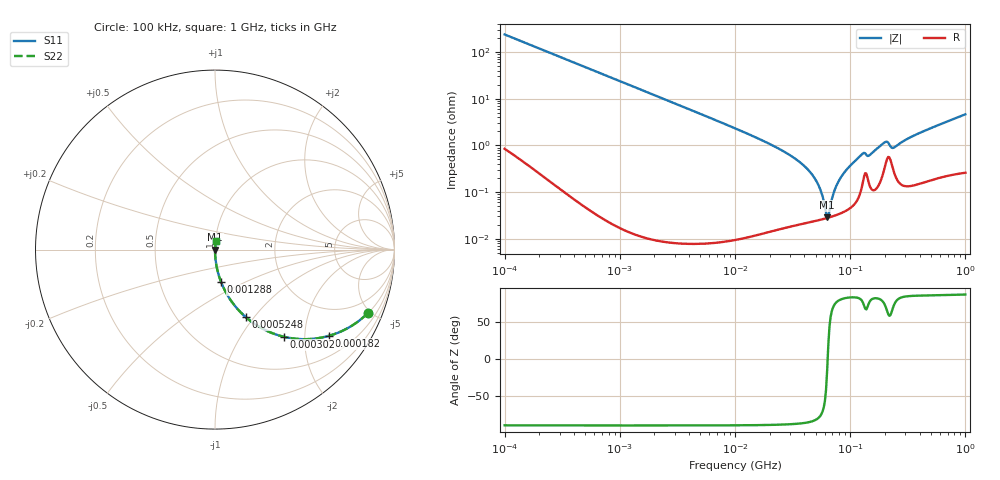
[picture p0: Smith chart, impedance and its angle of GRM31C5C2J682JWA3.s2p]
!Murata Part Number: GRM31C5C2J682JWA3
!These Parameters are Measured in Series Mode Connection
!Data Generated on Mar 30, 2021
!  o--ll--o
!Port1  Port2
!  o------o
!Operation Temp=25[degC], DC Bias Voltage=0[V]
!Freq. Start=100[kHz] Stop=1000[MHz] 401[Steps]
# Hz S RI R 50
!Freq.(Hz) S11(Real) S11(Imag) S21(Real) S21(Imag) S12(Real) S12(Imag) S22(Real) S22(Imag)
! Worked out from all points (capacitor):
!   401 points, 100 kHz to 1 GHz, reference 50 ohm
!   read as one part in series: C = 6.67 nF near 104.7 kHz
!   lowest |Z| = 28.9 mohm at 63.1 MHz (marker M1)
!   series resonance near 63.75 MHz, so ESL is about 940 pH
!   S11 on the Smith chart (normalised r, x): 100 kHz: 1.02, -4.77; 182 kHz: 1.01, -2.63; 302 kHz: 1.00, -1.58; 524.8 kHz: 1.00, -0.91; 1.288 MHz: 1.00, -0.37; 1 GHz: 1.01, +0.09
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100000  0.8497 -0.3556  0.1503 0.3556  0.1503 0.3556  0.8497 -0.3556
181970  0.6325 -0.481  0.3675 0.481  0.3675 0.481  0.6325 -0.481
301995  0.3851 -0.4859  0.6149 0.4859  0.6149 0.4859  0.3851 -0.4859
467735  0.2072 -0.4048  0.7928 0.4048  0.7928 0.4048  0.2072 -0.4048
524807  0.172 -0.3769  0.828 0.3769  0.828 0.3769  0.172 -0.3769
1288250  0.0334 -0.1792  0.9666 0.1792  0.9666 0.1792  0.0334 -0.1792
2187762  0.0118 -0.1078  0.9882 0.1078  0.9882 0.1078  0.0118 -0.1078
1e7  0.000634 -0.0233  0.9994 0.0233  0.9994 0.0233  0.000634 -0.0233
2.818383e7  0.00022 -0.00678  0.9998 0.00678  0.9998 0.00678  0.00022 -0.00678
4.677351e7  0.000237 -0.00235  0.9998 0.00235  0.9998 0.00235  0.000237 -0.00235
5.495409e7  0.000255 -0.00112  0.9997 0.00112  0.9997 0.00112  0.000255 -0.00112
6.309573e7  0.000278 -7.67e-05  0.9997 7.67e-05  0.9997 7.67e-05  0.000278 -7.67e-05
6.606934e7  0.000288 0.00027  0.9997 -0.00027  0.9997 -0.00027  0.000288 0.00027
7.762471e7  0.000331 0.0015  0.9997 -0.0015  0.9997 -0.0015  0.000331 0.0015
9.772372e7  0.000446 0.00342  0.9996 -0.00342  0.9996 -0.00342  0.000446 0.00342
1.28825e8  0.00165 0.00652  0.9984 -0.00652  0.9984 -0.00652  0.00165 0.00652
1.479108e8  0.00138 0.00605  0.9986 -0.00605  0.9986 -0.00605  0.00138 0.00605
1.995262e8  0.0035 0.0111  0.9965 -0.0111  0.9965 -0.0111  0.0035 0.0111
2.187762e8  0.00559 0.00878  0.9944 -0.00878  0.9944 -0.00878  0.00559 0.00878
2.398833e8  0.00274 0.0085  0.9973 -0.0085  0.9973 -0.0085  0.00274 0.0085
3.801894e8  0.00175 0.0173  0.9983 -0.0173  0.9983 -0.0173  0.00175 0.0173
1e9  0.00471 0.046  0.9953 -0.046  0.9953 -0.046  0.00471 0.046
